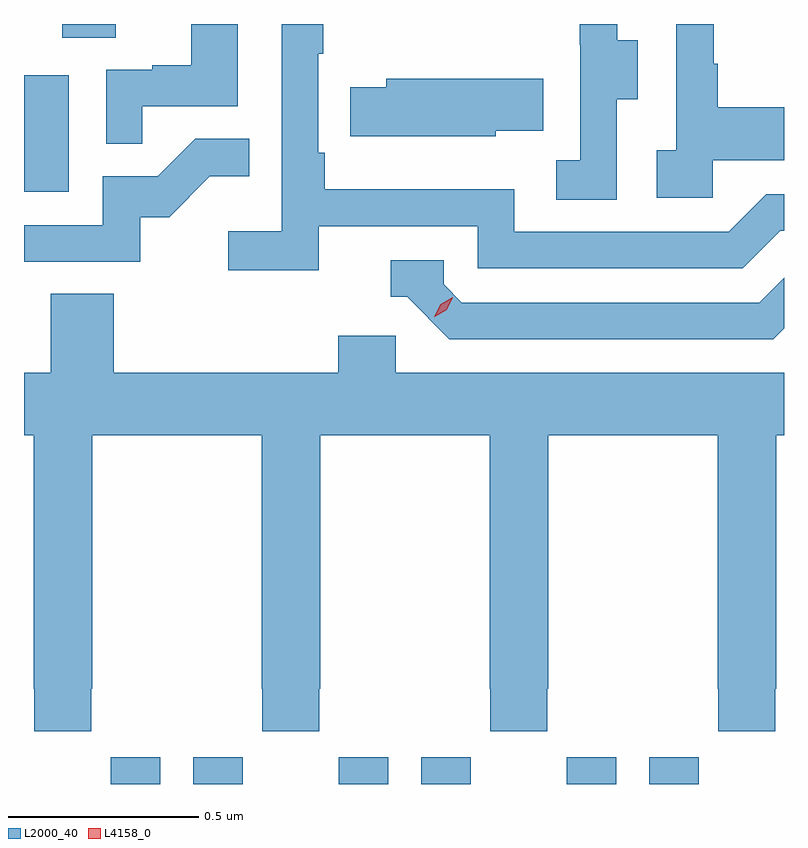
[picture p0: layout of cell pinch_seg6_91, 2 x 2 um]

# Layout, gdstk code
import gdstk
lib = gdstk.Library(unit=1e-6, precision=1e-09)
def R(c, l, rs):  # rectangles x0, y0, x1, y1
    for r in rs: c.add(gdstk.rectangle(r[:2], r[2:], *l))
def P(c, l, *ps):  # polygons
    for p in ps: c.add(gdstk.Polygon(p, *l))
L2000_40 = (2000, 40)
L4158_0 = (4158, 0)

pinch_seg6_91 = lib.new_cell('pinch_seg6_91')
R(pinch_seg6_91, L2000_40, [(900.858,931.766,900.988,931.837), (901.076,931.766,901.206,931.837), (901.458,931.766,901.588,931.837), (901.676,931.766,901.806,931.837), (902.058,931.766,902.188,931.837), (902.276,931.766,902.406,931.837), (900.63,933.324,900.748,933.631), (900.731,933.73,900.871,933.766)])
P(pinch_seg6_91, L2000_40, [(902.19,933.568),(902.245,933.568),(902.245,933.723),(902.191,933.723),(902.191,933.766),(902.093,933.766),(902.093,933.711),(902.094,933.711),(902.094,933.407),(902.031,933.407),(902.031,933.304),(902.19,933.304)],
  [(902.442,933.407),(902.63,933.407),(902.63,933.547),(902.455,933.547),(902.455,933.662),(902.445,933.662),(902.445,933.766),(902.346,933.766),(902.346,933.434),(902.295,933.434),(902.295,933.309),(902.442,933.309)],
  [(900.941,933.549),(901.192,933.549),(901.192,933.766),(901.07,933.766),(901.07,933.658),(900.967,933.658),(900.967,933.645),(900.846,933.645),(900.846,933.451),(900.941,933.451)],
  [(901.406,933.234),(901.824,933.234),(901.824,933.123),(902.521,933.123),(902.62,933.222),(902.63,933.222),(902.63,933.318),(902.583,933.318),(902.484,933.219),(901.92,933.219),(901.92,933.331),(901.421,933.331),(901.421,933.427),(901.404,933.427),(901.404,933.688),(901.417,933.688),(901.417,933.766),(901.308,933.766),(901.308,933.22),(901.167,933.22),(901.167,933.118),(901.406,933.118)],
  [(901.872,933.485),(901.997,933.485),(901.997,933.622),(901.583,933.622),(901.583,933.6),(901.489,933.6),(901.489,933.471),(901.6,933.471),(901.6,933.47),(901.872,933.47)],
  [(900.936,933.258),(901.012,933.258),(901.119,933.365),(901.223,933.365),(901.223,933.464),(901.08,933.464),(900.982,933.366),(900.837,933.366),(900.837,933.237),(900.63,933.237),(900.63,933.141),(900.936,933.141)],
  [(902.63,932.965),(902.63,933.098),(902.565,933.033),(901.782,933.033),(901.734,933.081),(901.734,933.144),(901.595,933.144),(901.595,933.048),(901.638,933.048),(901.749,932.937),(902.602,932.937)],
  [(900.807,932.017),(900.81,932.017),(900.81,932.684),(901.255,932.684),(901.255,932.017),(901.257,932.017),(901.257,931.905),(901.407,931.905),(901.407,932.017),(901.41,932.017),(901.41,932.684),(901.855,932.684),(901.855,932.017),(901.857,932.017),(901.857,931.905),(902.007,931.905),(902.007,932.017),(902.01,932.017),(902.01,932.684),(902.455,932.684),(902.455,932.017),(902.457,932.017),(902.457,931.905),(902.607,931.905),(902.607,932.017),(902.61,932.017),(902.61,932.684),(902.63,932.684),(902.63,932.848),(901.608,932.848),(901.608,932.946),(901.457,932.946),(901.457,932.848),(900.866,932.848),(900.866,933.056),(900.701,933.056),(900.701,932.848),(900.63,932.848),(900.63,932.684),(900.655,932.684),(900.655,932.017),(900.657,932.017),(900.657,931.905),(900.807,931.905)])
P(pinch_seg6_91, L4158_0, [(901.71,932.995),(901.71,932.996),(901.727,933.028),(901.758,933.047),(901.758,933.047),(901.758,933.047),(901.742,933.014),(901.711,932.995)])

lib.write_gds('pinch_seg6_91.gds')
